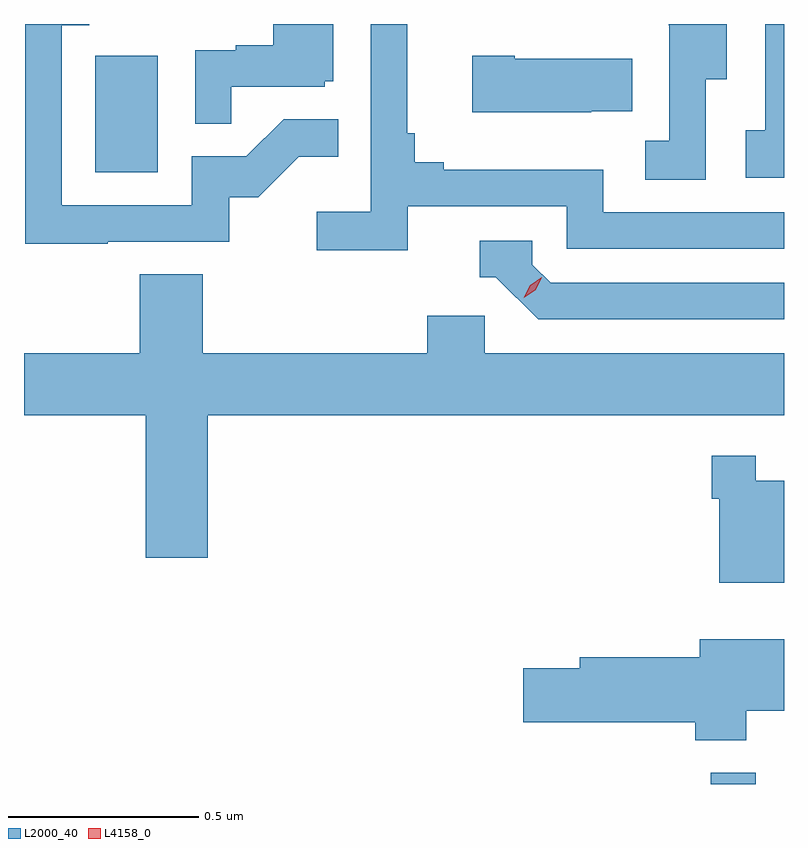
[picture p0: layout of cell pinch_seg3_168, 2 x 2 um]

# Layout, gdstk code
import gdstk
lib = gdstk.Library(unit=1e-6, precision=1e-09)
def R(c, l, rs):  # rectangles x0, y0, x1, y1
    for r in rs: c.add(gdstk.rectangle(r[:2], r[2:], *l))
def P(c, l, *ps):  # polygons
    for p in ps: c.add(gdstk.Polygon(p, *l))
L2000_40 = (2000, 40)
L4158_0 = (4158, 0)

pinch_seg3_168 = lib.new_cell('pinch_seg3_168')
R(pinch_seg3_168, L2000_40, [(1113.547,715.93,1113.665,715.96), (1111.928,717.54,1112.092,717.847)])
P(pinch_seg3_168, L2000_40, [(1112.75,717.45),(1113.168,717.45),(1113.168,717.339),(1113.74,717.339),(1113.74,717.435),(1113.264,717.435),(1113.264,717.547),(1112.845,717.547),(1112.845,717.566),(1112.768,717.566),(1112.768,717.643),(1112.749,717.643),(1112.749,717.93),(1112.652,717.93),(1112.652,717.436),(1112.511,717.436),(1112.511,717.334),(1112.75,717.334)],
  [(1111.961,717.357),(1112.28,717.357),(1112.28,717.474),(1112.356,717.474),(1112.463,717.581),(1112.567,717.581),(1112.567,717.68),(1112.423,717.68),(1112.325,717.582),(1112.181,717.582),(1112.181,717.453),(1111.839,717.453),(1111.839,717.927),(1111.912,717.927),(1111.912,717.93),(1111.743,717.93),(1111.743,717.352),(1111.961,717.352)],
  [(1112.285,717.765),(1112.532,717.765),(1112.532,717.78),(1112.554,717.78),(1112.554,717.93),(1112.396,717.93),(1112.396,717.874),(1112.297,717.874),(1112.297,717.861),(1112.19,717.861),(1112.19,717.667),(1112.285,717.667)],
  [(1113.534,717.784),(1113.589,717.784),(1113.589,717.93),(1113.437,717.93),(1113.437,717.927),(1113.438,717.927),(1113.438,717.623),(1113.375,717.623),(1113.375,717.52),(1113.534,717.52)],
  [(1113.74,717.93),(1113.69,717.93),(1113.69,717.65),(1113.639,717.65),(1113.639,717.525),(1113.74,717.525)],
  [(1113.233,717.701),(1113.341,717.701),(1113.341,717.838),(1113.031,717.838),(1113.031,717.846),(1112.919,717.846),(1112.919,717.698),(1113.233,717.698)],
  [(1113.74,717.249),(1113.126,717.249),(1113.078,717.297),(1113.078,717.36),(1112.939,717.36),(1112.939,717.264),(1112.982,717.264),(1113.093,717.153),(1113.74,717.153)],
  [(1112.224,716.9),(1113.74,716.9),(1113.74,717.064),(1112.952,717.064),(1112.952,717.162),(1112.801,717.162),(1112.801,717.064),(1112.21,717.064),(1112.21,717.272),(1112.045,717.272),(1112.045,717.064),(1111.74,717.064),(1111.74,716.9),(1112.06,716.9),(1112.06,716.526),(1112.224,716.526)],
  [(1113.74,716.728),(1113.666,716.728),(1113.666,716.794),(1113.55,716.794),(1113.55,716.681),(1113.57,716.681),(1113.57,716.459),(1113.74,716.459)],
  [(1113.64,716.123),(1113.74,716.123),(1113.74,716.311),(1113.518,716.311),(1113.518,716.264),(1113.203,716.264),(1113.203,716.234),(1113.054,716.234),(1113.054,716.092),(1113.506,716.092),(1113.506,716.045),(1113.64,716.045)])
P(pinch_seg3_168, L4158_0, [(1113.055,717.21),(1113.055,717.21),(1113.072,717.243),(1113.103,717.263),(1113.103,717.263),(1113.103,717.262),(1113.086,717.23),(1113.055,717.21)])

lib.write_gds('pinch_seg3_168.gds')
